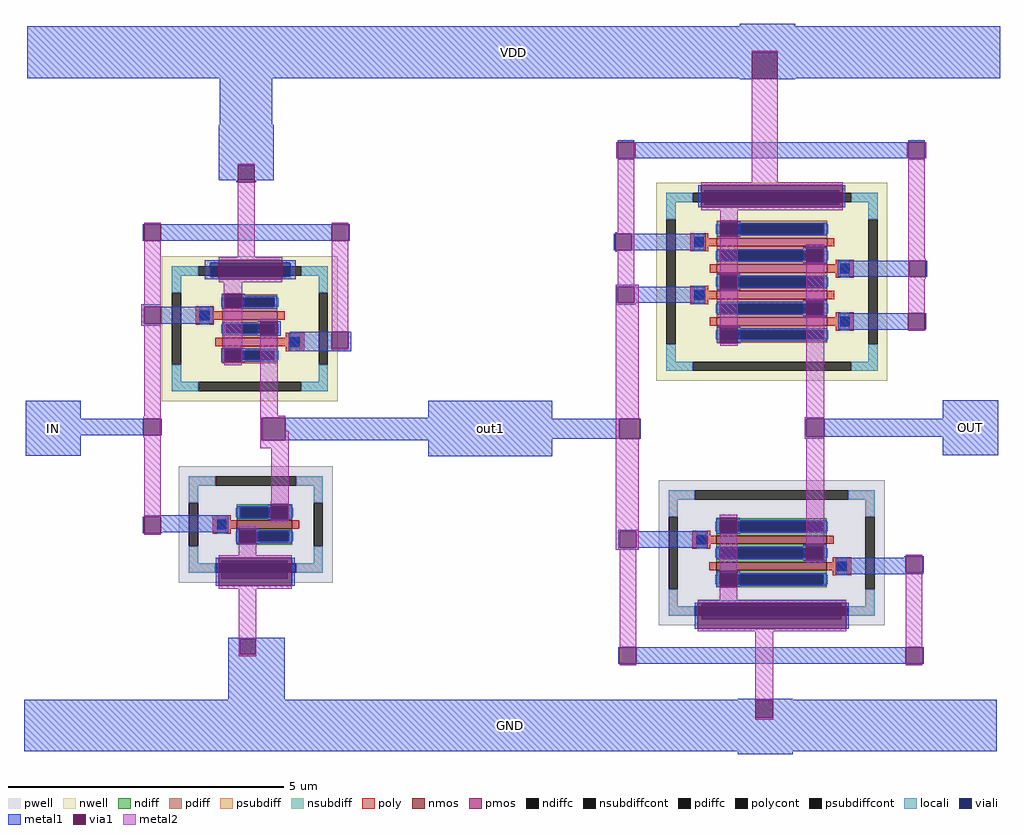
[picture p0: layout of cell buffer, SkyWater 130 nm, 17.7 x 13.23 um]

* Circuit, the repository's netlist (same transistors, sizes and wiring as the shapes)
** sch_path: /foss/designs/modulo3/lab02/xschem/buffer.sch
.subckt buffer VDD GND OUT IN
*.PININFO IN:I OUT:O VDD:B GND:B
x1 VDD IN out1 GND inverter
x2 VDD out1 OUT GND inverterx4
.ends

* expanding   symbol:  modulo3/lab02/xschem/inverter.sym # of pins=4
** sym_path: /foss/designs/modulo3/lab02/xschem/inverter.sym
** sch_path: /foss/designs/modulo3/lab02/xschem/inverter.sch
.subckt inverter VDD IN OUT GND
*.PININFO IN:I OUT:O VDD:B GND:B
XM1 OUT IN GND GND sky130_fd_pr__nfet_01v8 L=0.15 W=1 nf=1 m=1
XM2 OUT IN VDD VDD sky130_fd_pr__pfet_01v8 L=0.15 W=2 nf=2 m=1
.ends


* expanding   symbol:  modulo3/lab02/xschem/inverterx4.sym # of pins=4
** sym_path: /foss/designs/modulo3/lab02/xschem/inverterx4.sym
** sch_path: /foss/designs/modulo3/lab02/xschem/inverterx4.sch
.subckt inverterx4 VDD IN OUT GND
*.PININFO IN:I OUT:O VDD:B GND:B
XM1 OUT IN GND GND sky130_fd_pr__nfet_01v8 L=0.15 W=4 nf=2 m=1
XM2 OUT IN VDD VDD sky130_fd_pr__pfet_01v8 L=0.15 W=8 nf=4 m=1
.ends

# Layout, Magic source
magic
tech sky130A
magscale 1 2
<< metal1 >>
rect 5 2230 3533 2417
rect 703 1862 895 2230
rect 1460 858 1910 1059
rect 735 12 938 200
rect 735 -24 940 12
rect -6 -211 3522 -24
use inverter  inverter_0
transform 1 0 -380 0 1 1560
box 380 -1560 2040 500
use inverterx4  inverterx4_0
transform 1 0 1292 0 1 1354
box 418 -1575 2234 1072
<< labels >>
flabel metal1 1460 858 1910 1059 0 FreeSans 1600 0 0 0 out1
flabel metal1 5 2230 3533 2417 0 FreeSans 1600 0 0 0 VDD
port 0 nsew
flabel metal1 -6 -211 3522 -24 0 FreeSans 1600 0 0 0 GND
port 1 nsew
flabel space 3326 862 3526 1062 0 FreeSans 1600 0 0 0 OUT
port 2 nsew
flabel space 0 860 200 1060 0 FreeSans 1600 0 0 0 IN
port 3 nsew
<< end >>

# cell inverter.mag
magic
tech sky130A
magscale 1 2
<< viali >>
rect 1050 -50 1340 0
rect 1090 -1146 1330 -1080
<< metal1 >>
rect 1080 354 1280 500
rect 1080 300 1149 354
rect 1143 292 1149 300
rect 1211 300 1280 354
rect 1211 292 1217 300
rect 804 80 810 140
rect 870 80 1490 140
rect 1550 80 1556 140
rect 1030 0 1080 10
rect 1310 0 1360 10
rect 1030 -50 1050 0
rect 1340 -50 1360 0
rect 1030 -60 1080 -50
rect 1310 -60 1360 -50
rect 799 -160 870 -150
rect 799 -220 810 -160
rect 870 -220 1060 -160
rect 1091 -164 1101 -112
rect 1165 -164 1175 -112
rect 799 -229 870 -220
rect 1221 -264 1231 -212
rect 1295 -264 1305 -212
rect 1090 -361 1100 -309
rect 1164 -361 1174 -309
rect 1340 -310 1490 -250
rect 1550 -310 1560 -250
rect 1340 -320 1560 -310
rect 380 -565 580 -500
rect 1840 -561 2040 -500
rect 380 -626 807 -565
rect 868 -626 874 -565
rect 380 -700 580 -626
rect 1232 -644 1238 -561
rect 1321 -644 2040 -561
rect 1840 -700 2040 -644
rect 810 -920 1112 -915
rect 804 -980 810 -920
rect 870 -977 1112 -920
rect 1259 -931 1269 -875
rect 1332 -931 1342 -875
rect 870 -980 876 -977
rect 1143 -1019 1153 -963
rect 1216 -1019 1226 -963
rect 1070 -1171 1080 -1070
rect 1345 -1171 1355 -1070
rect 1120 -1363 1320 -1360
rect 1120 -1420 1157 -1363
rect 1214 -1420 1320 -1363
rect 1120 -1560 1320 -1420
<< via1 >>
rect 1149 292 1211 354
rect 810 80 870 140
rect 1490 80 1550 140
rect 1080 0 1310 10
rect 1080 -50 1310 0
rect 1080 -60 1310 -50
rect 810 -220 870 -160
rect 1101 -164 1165 -112
rect 1231 -264 1295 -212
rect 1100 -361 1164 -309
rect 1490 -310 1550 -250
rect 807 -626 868 -565
rect 1238 -644 1321 -561
rect 810 -980 870 -920
rect 1269 -931 1332 -875
rect 1153 -1019 1216 -963
rect 1080 -1080 1345 -1070
rect 1080 -1146 1090 -1080
rect 1090 -1146 1330 -1080
rect 1330 -1146 1345 -1080
rect 1080 -1171 1345 -1146
rect 1157 -1420 1214 -1363
<< metal2 >>
rect 1149 354 1211 360
rect 810 140 870 146
rect 810 -150 870 80
rect 1149 20 1211 292
rect 1490 140 1550 146
rect 1080 10 1310 20
rect 1080 -70 1310 -60
rect 799 -160 870 -150
rect 799 -220 810 -160
rect 799 -229 870 -220
rect 810 -559 870 -229
rect 1099 -112 1165 -70
rect 1099 -164 1101 -112
rect 1099 -309 1165 -164
rect 1099 -361 1100 -309
rect 1164 -361 1165 -309
rect 1231 -212 1295 -202
rect 1100 -371 1164 -361
rect 807 -565 870 -559
rect 868 -626 870 -565
rect 807 -632 870 -626
rect 810 -920 870 -632
rect 1231 -555 1295 -264
rect 1490 -250 1550 80
rect 1490 -316 1550 -310
rect 1231 -561 1321 -555
rect 1231 -644 1238 -561
rect 1321 -644 1334 -609
rect 1231 -673 1334 -644
rect 1270 -865 1334 -673
rect 1269 -875 1334 -865
rect 1332 -931 1334 -875
rect 1269 -933 1334 -931
rect 1269 -941 1332 -933
rect 810 -986 870 -980
rect 1153 -963 1217 -953
rect 1216 -1019 1217 -963
rect 1153 -1060 1217 -1019
rect 1080 -1070 1345 -1060
rect 1080 -1181 1345 -1171
rect 1153 -1363 1217 -1181
rect 1153 -1420 1157 -1363
rect 1214 -1420 1217 -1363
rect 1153 -1426 1217 -1420
use sky130_fd_pr__nfet_01v8_5HRLDF  XM1
transform 0 1 1215 -1 0 -949
box -211 -279 211 279
use sky130_fd_pr__pfet_01v8_GJ6HWT  XM2
transform 0 1 1193 -1 0 -239
box -263 -319 263 319
<< labels >>
flabel metal1 1080 300 1280 500 0 FreeSans 128 0 0 0 VDD
port 0 nsew
flabel metal1 1120 -1560 1320 -1360 0 FreeSans 128 0 0 0 GND
port 3 nsew
flabel metal1 380 -700 580 -500 0 FreeSans 128 0 0 0 IN
port 1 nsew
flabel metal1 1840 -700 2040 -500 0 FreeSans 128 0 0 0 OUT
port 2 nsew
<< end >>

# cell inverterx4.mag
magic
tech sky130A
magscale 1 2
<< viali >>
rect 1169 417 1659 469
rect 1160 -1087 1666 -1030
<< metal1 >>
rect 1298 969 1498 1072
rect 1298 874 1340 969
rect 1435 874 1498 969
rect 1298 872 1498 874
rect 855 644 914 650
rect 1909 644 1968 650
rect 914 585 1909 644
rect 855 579 914 585
rect 1909 579 1968 585
rect 1147 407 1157 488
rect 1670 407 1680 488
rect 840 252 846 311
rect 905 252 1174 311
rect 1216 300 1226 359
rect 1290 300 1300 359
rect 1528 204 1538 263
rect 1602 204 1612 263
rect 849 120 920 126
rect 849 61 855 120
rect 914 61 1173 120
rect 1214 107 1224 166
rect 1288 107 1298 166
rect 1653 155 1912 214
rect 1971 155 1977 214
rect 849 54 920 61
rect 1528 12 1538 71
rect 1602 12 1612 71
rect 1903 23 1909 24
rect 1216 -85 1226 -26
rect 1290 -85 1300 -26
rect 1654 -35 1909 23
rect 1968 -35 1974 24
rect 1654 -36 1972 -35
rect 418 -360 618 -296
rect 1533 -360 1603 -354
rect 2034 -360 2234 -292
rect 418 -432 861 -360
rect 933 -432 939 -360
rect 1533 -424 1539 -360
rect 1603 -424 2234 -360
rect 1533 -431 1603 -424
rect 418 -496 618 -432
rect 2034 -492 2234 -424
rect 857 -768 930 -761
rect 857 -827 863 -768
rect 922 -827 1181 -768
rect 1214 -777 1224 -718
rect 1288 -777 1298 -718
rect 857 -834 930 -827
rect 1528 -874 1538 -815
rect 1602 -874 1612 -815
rect 1894 -864 1900 -858
rect 1214 -970 1224 -911
rect 1288 -970 1298 -911
rect 1645 -917 1900 -864
rect 1959 -917 1965 -858
rect 1645 -923 1963 -917
rect 1145 -1026 1683 -1017
rect 1135 -1120 1145 -1026
rect 1683 -1120 1693 -1026
rect 857 -1247 863 -1188
rect 922 -1247 1900 -1188
rect 1959 -1247 1965 -1188
rect 1290 -1380 1490 -1375
rect 1290 -1444 1354 -1380
rect 1418 -1444 1490 -1380
rect 1290 -1575 1490 -1444
<< via1 >>
rect 1340 874 1435 969
rect 855 585 914 644
rect 1909 585 1968 644
rect 1157 469 1670 488
rect 1157 417 1169 469
rect 1169 417 1659 469
rect 1659 417 1670 469
rect 1157 407 1670 417
rect 846 252 905 311
rect 1226 300 1290 359
rect 1538 204 1602 263
rect 855 61 914 120
rect 1224 107 1288 166
rect 1912 155 1971 214
rect 1538 12 1602 71
rect 1226 -85 1290 -26
rect 1909 -35 1968 24
rect 861 -432 933 -360
rect 1539 -424 1603 -360
rect 863 -827 922 -768
rect 1224 -777 1288 -718
rect 1538 -874 1602 -815
rect 1224 -970 1288 -911
rect 1900 -917 1959 -858
rect 1145 -1030 1683 -1026
rect 1145 -1087 1160 -1030
rect 1160 -1087 1666 -1030
rect 1666 -1087 1683 -1030
rect 1145 -1120 1683 -1087
rect 863 -1247 922 -1188
rect 1900 -1247 1959 -1188
rect 1354 -1444 1418 -1380
<< metal2 >>
rect 1340 969 1435 975
rect 849 585 855 644
rect 914 585 920 644
rect 855 317 914 585
rect 1340 498 1435 874
rect 1903 585 1909 644
rect 1968 585 1974 644
rect 1157 488 1670 498
rect 1157 397 1670 407
rect 846 311 914 317
rect 905 252 914 311
rect 846 246 914 252
rect 855 126 914 246
rect 1226 359 1290 397
rect 1226 176 1290 300
rect 1538 271 1602 273
rect 1538 263 1603 271
rect 1602 204 1603 263
rect 1538 194 1603 204
rect 1224 166 1290 176
rect 847 120 931 126
rect 847 61 855 120
rect 914 61 931 120
rect 1288 107 1290 166
rect 1224 97 1290 107
rect 847 -354 931 61
rect 1226 -26 1290 97
rect 1539 81 1603 194
rect 1538 71 1603 81
rect 1602 12 1603 71
rect 1538 2 1603 12
rect 1226 -95 1290 -85
rect 1539 -354 1603 2
rect 1909 220 1968 585
rect 1909 214 1971 220
rect 1909 155 1912 214
rect 1909 149 1971 155
rect 1909 24 1968 149
rect 1909 -41 1968 -35
rect 847 -360 933 -354
rect 847 -432 861 -360
rect 1533 -360 1603 -354
rect 1533 -424 1539 -360
rect 1533 -431 1603 -424
rect 847 -438 933 -432
rect 847 -768 931 -438
rect 847 -827 863 -768
rect 922 -827 931 -768
rect 847 -835 931 -827
rect 1224 -718 1288 -708
rect 863 -1188 922 -835
rect 1224 -911 1288 -777
rect 1539 -805 1603 -431
rect 1538 -815 1603 -805
rect 1602 -874 1603 -815
rect 1538 -884 1603 -874
rect 1900 -858 1959 -852
rect 1224 -1016 1288 -970
rect 1145 -1026 1683 -1016
rect 1145 -1130 1683 -1120
rect 863 -1253 922 -1247
rect 1354 -1380 1418 -1130
rect 1900 -1188 1959 -917
rect 1900 -1253 1959 -1247
rect 1354 -1450 1418 -1444
use sky130_fd_pr__nfet_01v8_ENW9XG  XM1
transform 0 1 1413 -1 0 -846
box -263 -410 263 410
use sky130_fd_pr__pfet_01v8_KJ82MB  XM2
transform 0 1 1414 -1 0 137
box -359 -419 359 419
<< labels >>
flabel metal1 1298 872 1498 1072 0 FreeSans 128 0 0 0 VDD
port 0 nsew
flabel metal1 418 -496 618 -296 0 FreeSans 128 0 0 0 IN
port 1 nsew
flabel metal1 2034 -492 2234 -292 0 FreeSans 128 0 0 0 OUT
port 2 nsew
flabel metal1 1290 -1575 1490 -1375 0 FreeSans 128 0 0 0 GND
port 3 nsew
<< end >>

# cell sky130_fd_pr__nfet_01v8_ENW9XG: kit device sky130_fd_pr__nfet_01v8, w 2.0 l 0.15 m 1 nf 2 diffcov 100 polycov 100 guard 1 glc 1 grc 1 gtc 1 gbc 1 tbcov 100 rlcov 100 topc 1 botc 1 poverlap 0 doverlap 1 lmin 0.15 wmin 0.42 class mosfet compatible {sky130_fd_pr__nfet_01v8 sky130_fd_pr__nfet_01v8_lvt sky130_fd_bs_flash__special_sonosfet_star sky130_fd_pr__nfet_g5v0d10v5 sky130_fd_pr__nfet_05v0_nvt sky130_fd_pr__nfet_03v3_nvt} full_metal 1 viasrc 100 viadrn 100 viagate 100 viagb 0 viagr 0 viagl 0 viagt 0 doports 1

# cell sky130_fd_pr__pfet_01v8_KJ82MB: kit device sky130_fd_pr__pfet_01v8, w 2.0 l 0.15 m 1 nf 4 diffcov 100 polycov 100 guard 1 glc 1 grc 1 gtc 1 gbc 1 tbcov 100 rlcov 100 topc 1 botc 1 poverlap 0 doverlap 1 lmin 0.15 wmin 0.42 class mosfet compatible {sky130_fd_pr__pfet_01v8 sky130_fd_pr__pfet_01v8_lvt sky130_fd_pr__pfet_01v8_hvt sky130_fd_pr__pfet_g5v0d10v5} full_metal 1 viasrc 100 viadrn 100 viagate 100 viagb 0 viagr 0 viagl 0 viagt 0 doports 1

# cell sky130_fd_pr__nfet_01v8_5HRLDF: kit device sky130_fd_pr__nfet_01v8, w 1.0 l 0.15 m 1 nf 1 diffcov 100 polycov 100 guard 1 glc 1 grc 1 gtc 1 gbc 1 tbcov 100 rlcov 100 topc 0 botc 1 poverlap 0 doverlap 1 lmin 0.15 wmin 0.42 class mosfet compatible {sky130_fd_pr__nfet_01v8 sky130_fd_pr__nfet_01v8_lvt sky130_fd_bs_flash__special_sonosfet_star sky130_fd_pr__nfet_g5v0d10v5 sky130_fd_pr__nfet_05v0_nvt sky130_fd_pr__nfet_03v3_nvt} full_metal 1 viasrc 100 viadrn 100 viagate 100 viagb 0 viagr 0 viagl 0 viagt 0 doports 1

# cell sky130_fd_pr__pfet_01v8_GJ6HWT: kit device sky130_fd_pr__pfet_01v8, w 1.0 l 0.15 m 1 nf 2 diffcov 100 polycov 100 guard 1 glc 1 grc 1 gtc 1 gbc 1 tbcov 100 rlcov 100 topc 1 botc 1 poverlap 0 doverlap 1 lmin 0.15 wmin 0.42 class mosfet compatible {sky130_fd_pr__pfet_01v8 sky130_fd_pr__pfet_01v8_lvt sky130_fd_pr__pfet_01v8_hvt sky130_fd_pr__pfet_g5v0d10v5} full_metal 1 viasrc 100 viadrn 100 viagate 100 viagb 0 viagr 0 viagl 0 viagt 0 doports 1
